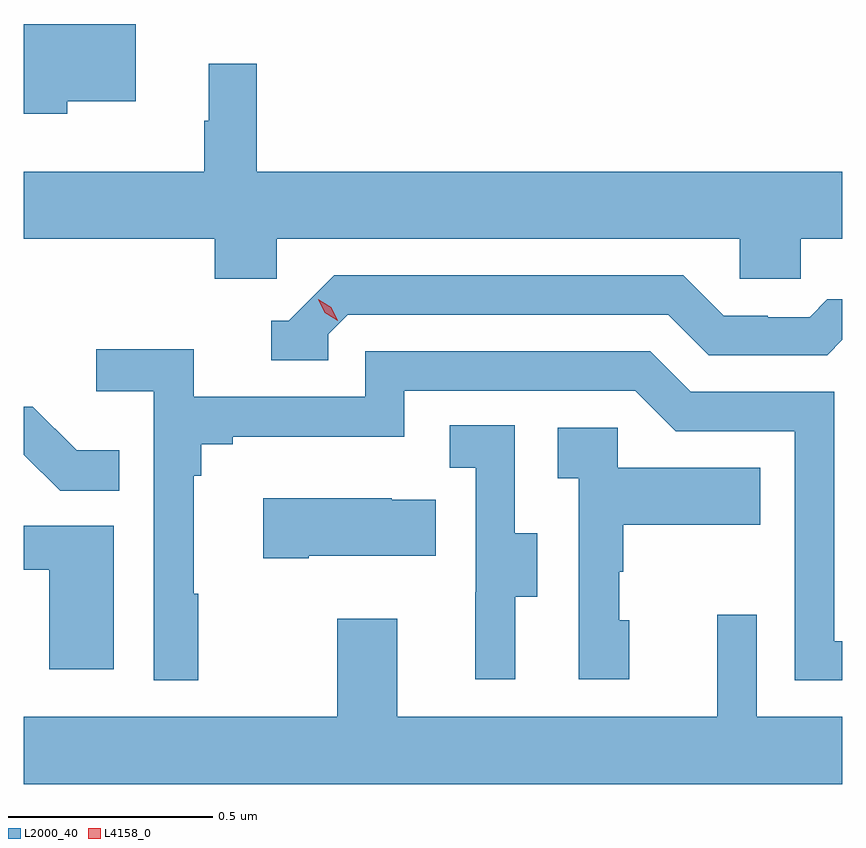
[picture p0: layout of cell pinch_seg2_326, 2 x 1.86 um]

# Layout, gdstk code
import gdstk
lib = gdstk.Library(unit=1e-6, precision=1e-09)
def P(c, l, *ps):  # polygons
    for p in ps: c.add(gdstk.Polygon(p, *l))
L2000_40 = (2000, 40)
L4158_0 = (4158, 0)

pinch_seg2_326 = lib.new_cell('pinch_seg2_326')
P(pinch_seg2_326, L2000_40, [(932.842,629.324),(933.01,629.324),(933.01,629.513),(932.736,629.513),(932.736,629.294),(932.842,629.294)],
  [(933.354,628.988),(934.485,628.988),(934.485,628.89),(934.635,628.89),(934.635,628.988),(934.736,628.988),(934.736,629.152),(933.305,629.152),(933.305,629.416),(933.188,629.416),(933.188,629.276),(933.177,629.276),(933.177,629.152),(932.736,629.152),(932.736,628.988),(933.203,628.988),(933.203,628.89),(933.354,628.89)],
  [(933.48,628.755),(933.528,628.803),(934.311,628.803),(934.41,628.704),(934.699,628.704),(934.736,628.741),(934.736,628.84),(934.699,628.84),(934.657,628.797),(934.554,628.797),(934.554,628.8),(934.447,628.8),(934.348,628.899),(933.495,628.899),(933.384,628.788),(933.341,628.788),(933.341,628.692),(933.48,628.692)],
  [(933.163,628.121),(933.151,628.121),(933.151,628.409),(933.17,628.409),(933.17,628.486),(933.247,628.486),(933.247,628.505),(933.666,628.505),(933.666,628.617),(934.23,628.617),(934.329,628.518),(934.62,628.518),(934.62,627.909),(934.736,627.909),(934.736,628.005),(934.716,628.005),(934.716,628.614),(934.366,628.614),(934.267,628.713),(933.57,628.713),(933.57,628.602),(933.152,628.602),(933.152,628.718),(932.913,628.718),(932.913,628.616),(933.054,628.616),(933.054,627.909),(933.163,627.909)],
  [(932.969,628.471),(932.865,628.471),(932.758,628.578),(932.736,628.578),(932.736,628.461),(932.825,628.372),(932.969,628.372)],
  [(933.937,628.114),(933.991,628.114),(933.991,628.269),(933.936,628.269),(933.936,628.532),(933.777,628.532),(933.777,628.429),(933.84,628.429),(933.84,628.125),(933.839,628.125),(933.839,627.912),(933.937,627.912)],
  [(934.216,628.056),(934.191,628.056),(934.191,628.175),(934.201,628.175),(934.201,628.289),(934.535,628.289),(934.535,628.429),(934.188,628.429),(934.188,628.527),(934.041,628.527),(934.041,628.403),(934.092,628.403),(934.092,627.912),(934.216,627.912)],
  [(933.433,628.214),(933.743,628.214),(933.743,628.351),(933.635,628.351),(933.635,628.354),(933.321,628.354),(933.321,628.207),(933.433,628.207)],
  [(932.956,628.287),(932.736,628.287),(932.736,628.179),(932.798,628.179),(932.798,627.936),(932.956,627.936)],
  [(934.736,627.82),(934.527,627.82),(934.527,628.069),(934.43,628.069),(934.43,627.82),(933.649,627.82),(933.649,628.06),(933.502,628.06),(933.502,627.82),(932.736,627.82),(932.736,627.656),(934.736,627.656)])
P(pinch_seg2_326, L4158_0, [(933.503,628.788),(933.472,628.807),(933.456,628.84),(933.456,628.84),(933.456,628.84),(933.487,628.821),(933.503,628.788),(933.503,628.788)])

lib.write_gds('pinch_seg2_326.gds')
